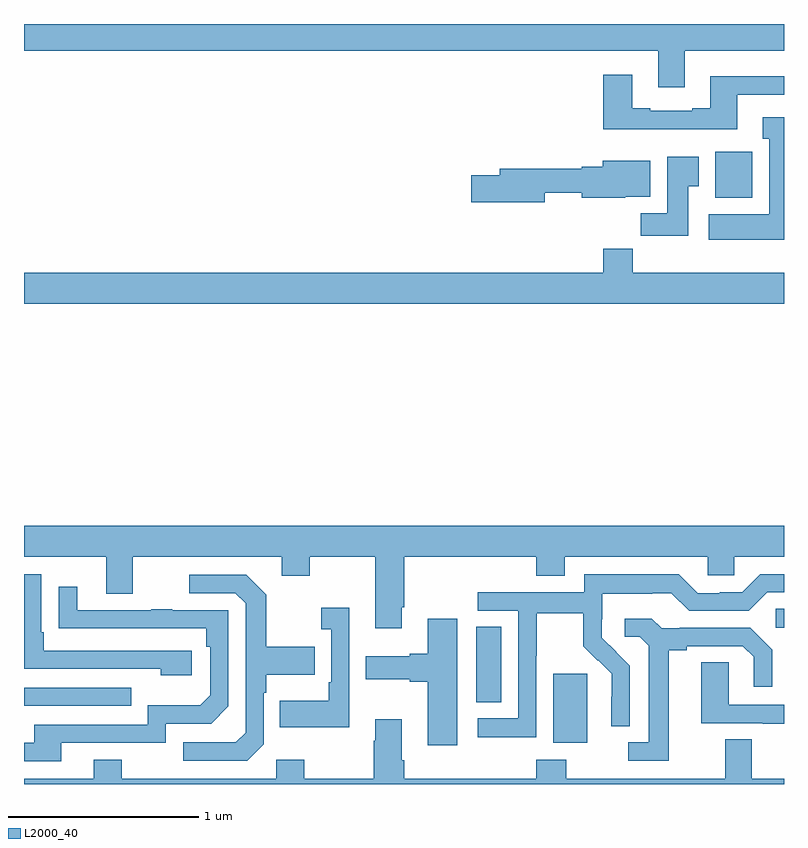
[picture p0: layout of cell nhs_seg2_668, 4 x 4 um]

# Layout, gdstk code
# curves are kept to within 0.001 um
import gdstk
lib = gdstk.Library(unit=1e-6, precision=1e-09)
def R(c, l, rs):  # rectangles x0, y0, x1, y1
    for r in rs: c.add(gdstk.rectangle(r[:2], r[2:], *l))
def P(c, l, *ps):  # polygons
    for p in ps: c.add(gdstk.Polygon(p, *l))
L2000_40 = (2000, 40)

nhs_seg2_668 = lib.new_cell('nhs_seg2_668')
R(nhs_seg2_668, L2000_40, [(147.785,620.018,147.964,620.379), (145,620.211,145.565,620.307), (147.38,620.23,147.511,620.627), (148.956,620.622,149,620.723), (148.637,622.886,148.834,623.128)])
P(nhs_seg2_668, L2000_40, [(145,623.66),(148.337,623.66),(148.337,623.466),(148.477,623.466),(148.477,623.66),(149,623.66),(149,623.8),(145,623.8)],
  [(148.753,623.427),(149,623.427),(149,623.524),(148.613,623.524),(148.613,623.356),(148.517,623.356),(148.517,623.343),(148.297,623.343),(148.297,623.356),(148.201,623.356),(148.201,623.533),(148.049,623.533),(148.049,623.246),(148.753,623.246)],
  [(149,623.308),(148.889,623.308),(148.889,623.195),(148.922,623.195),(148.922,622.798),(148.605,622.798),(148.605,622.664),(149,622.664)],
  [(148.495,622.945),(148.552,622.945),(148.552,623.101),(148.385,623.101),(148.385,622.804),(148.246,622.804),(148.246,622.686),(148.495,622.686)],
  [(147.742,622.911),(147.935,622.911),(147.935,622.886),(148.164,622.886),(148.164,622.892),(148.297,622.892),(148.297,623.08),(148.046,623.08),(148.046,623.05),(147.935,623.05),(147.935,623.039),(147.503,623.039),(147.503,623.003),(147.354,623.003),(147.354,622.861),(147.742,622.861)],
  [(149,622.492),(148.205,622.492),(148.205,622.616),(148.049,622.616),(148.049,622.492),(145,622.492),(145,622.328),(149,622.328)],
  [(146.989,620.731),(147.002,620.731),(147.002,620.996),(147.695,620.996),(147.695,620.897),(147.847,620.897),(147.847,620.996),(148.599,620.996),(148.599,620.898),(148.737,620.898),(148.737,620.996),(149,620.996),(149,621.16),(145,621.16),(145,620.996),(145.433,620.996),(145.433,620.802),(145.573,620.802),(145.573,620.996),(146.357,620.996),(146.357,620.897),(146.505,620.897),(146.505,620.996),(146.849,620.996),(146.849,620.619),(146.989,620.619)],
  [(147.696,620.476),(147.699,620.476),(147.699,620.7),(147.943,620.7),(147.943,620.525),(148.02,620.448),(148.023,620.451),(148.094,620.381),(148.094,620.258),(148.092,620.258),(148.092,620.104),(148.188,620.104),(148.188,620.422),(148.042,620.57),(148.042,620.667),(148.044,620.667),(148.044,620.801),(148.307,620.801),(148.307,620.805),(148.407,620.805),(148.5,620.712),(148.815,620.712),(148.911,620.808),(149,620.808),(149,620.904),(148.875,620.904),(148.779,620.808),(148.661,620.808),(148.661,620.805),(148.545,620.805),(148.445,620.905),(147.948,620.905),(147.948,620.808),(147.387,620.808),(147.387,620.712),(147.6,620.712),(147.6,620.145),(147.387,620.145),(147.387,620.047),(147.696,620.047)],
  [(145.882,620.502),(145.105,620.502),(145.105,620.599),(145.092,620.599),(145.092,620.904),(145,620.904),(145,620.406),(145.721,620.406),(145.721,620.372),(145.882,620.372)],
  [(146.262,620.01),(146.262,620.279),(146.275,620.279),(146.275,620.375),(146.531,620.375),(146.531,620.523),(146.275,620.523),(146.275,620.795),(146.169,620.901),(145.869,620.901),(145.869,620.805),(146.112,620.805),(146.166,620.751),(146.166,620.07),(146.115,620.019),(145.839,620.019),(145.839,619.923),(146.175,619.923)],
  [(145.195,620.016),(145.746,620.016),(145.746,620.118),(145.986,620.118),(146.076,620.208),(146.076,620.715),(145.781,620.715),(145.781,620.72),(145.669,620.72),(145.669,620.715),(145.279,620.715),(145.279,620.839),(145.183,620.839),(145.183,620.62),(145.96,620.619),(145.96,620.522),(145.98,620.522),(145.98,620.268),(145.927,620.215),(145.65,620.215),(145.65,620.112),(145.055,620.112),(145.055,620.016),(145,620.016),(145,619.92),(145.195,619.92)],
  [(146.712,620.728),(146.565,620.728),(146.565,620.615),(146.616,620.615),(146.616,620.335),(146.604,620.335),(146.604,620.239),(146.347,620.239),(146.347,620.099),(146.712,620.099)],
  [(148.393,620.504),(148.489,620.504),(148.489,620.526),(148.784,620.526),(148.841,620.469),(148.841,620.313),(148.938,620.313),(148.938,620.506),(148.822,620.622),(148.45,620.622),(148.45,620.619),(148.356,620.619),(148.304,620.671),(148.161,620.671),(148.161,620.574),(148.242,620.574),(148.289,620.527),(148.289,620.019),(148.179,620.019),(148.179,619.923),(148.393,619.923)],
  [(147.28,620.671),(147.125,620.671),(147.125,620.486),(147.029,620.486),(147.029,620.473),(146.799,620.473),(146.799,620.351),(147.029,620.351),(147.029,620.339),(147.125,620.339),(147.125,620.004),(147.28,620.004)],
  [(149,620.217),(148.71,620.217),(148.71,620.441),(148.565,620.441),(148.565,620.121),(148.889,620.121),(148.889,620.117),(149,620.117)],
  [(149,619.828),(148.831,619.828),(148.831,620.036),(148.691,620.036),(148.691,619.828),(147.855,619.828),(147.855,619.927),(147.695,619.927),(147.695,619.828),(147.002,619.828),(147.002,619.924),(146.989,619.924),(146.989,620.14),(146.849,620.14),(146.849,620.027),(146.842,620.027),(146.842,619.828),(146.475,619.828),(146.475,619.927),(146.328,619.927),(146.328,619.828),(145.515,619.828),(145.515,619.927),(145.367,619.927),(145.367,619.828),(145,619.828),(145,619.8),(149,619.8)])

lib.write_gds('nhs_seg2_668.gds')
